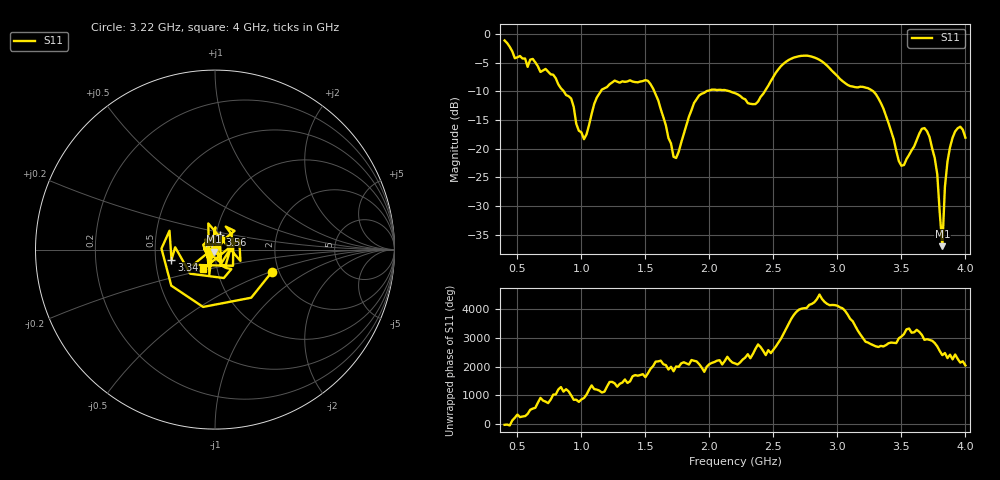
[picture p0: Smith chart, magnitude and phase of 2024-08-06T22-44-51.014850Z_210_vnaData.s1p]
!Created with skrf (http://scikit-rf.org).
# Hz S RI R 50.0
!freq ReS11 ImS11
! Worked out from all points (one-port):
!   181 points, 400 MHz to 4 GHz, reference 50 ohm
!   lowest |S11| = -37.0 dB at 3.82 GHz (marker M1), VSWR 1.03, Z = 49.2 - j1.13 ohm
!   |S11| at or under -10 dB: 861.4 MHz to 1.152 GHz (290.8 MHz wide, 28.9 % of centre); 1.569 GHz to 1.978 GHz (408.8 MHz wide, 23.1 % of centre); 3.279 GHz to end of sweep (the widest 3 of 4)
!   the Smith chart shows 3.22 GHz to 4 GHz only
!   S11 on the Smith chart (normalised r, x): 3.22 GHz: 1.83, -0.52; 3.34 GHz: 0.61, -0.07; 3.56 GHz: 1.04, +0.18; 4 GHz: 0.86, -0.19
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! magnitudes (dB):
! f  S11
! 400 MHz  -1.2
! 860 MHz  -10.0
! 920 MHz  -11.3
! 1.02 GHz  -18.4
! 1.16 GHz  -9.7
! 1.3 GHz  -8.5
! 1.52 GHz  -8.2
! 1.6 GHz  -11.6
! 1.72 GHz  -21.5
! 1.76 GHz  -20.6
! 1.92 GHz  -10.7
! 2.2 GHz  -10.3
! 2.36 GHz  -12.2
! 2.66 GHz  -4.1
! 2.86 GHz  -4.5
! 3.1 GHz  -9.1
! 3.22 GHz  -9.4
! 3.34 GHz  -12.1
! 3.48 GHz  -22.2
! 3.56 GHz  -21.1
! 3.66 GHz  -16.6
! 3.72 GHz  -18.0
! 3.78 GHz  -24.4
! 3.82 GHz  -37.0
! 3.84 GHz  -26.7
! 3.88 GHz  -19.8
! 3.94 GHz  -16.5
! 4 GHz  -18.1
